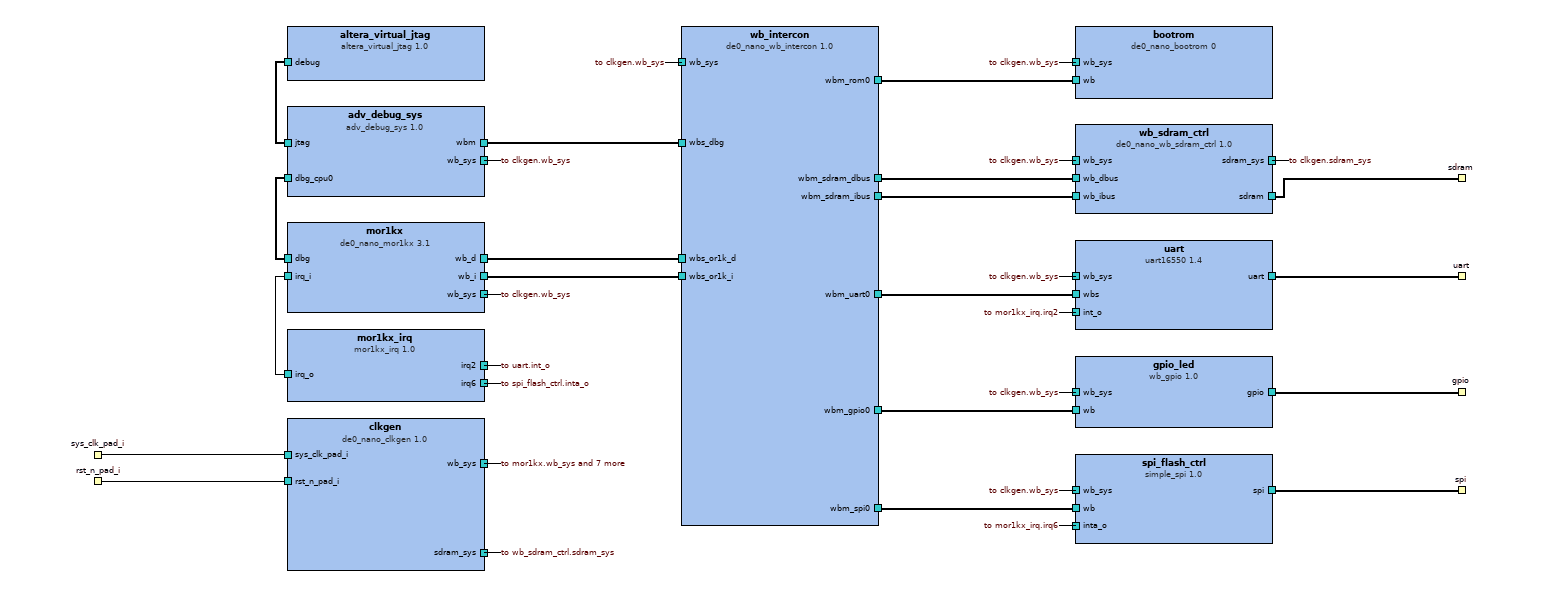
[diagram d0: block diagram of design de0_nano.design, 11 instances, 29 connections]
<?xml version="1.0" encoding="UTF-8"?>
<spirit:design xmlns:kactus2="http://funbase.cs.tut.fi/" xmlns:spirit="http://www.spiritconsortium.org/XMLSchema/SPIRIT/1.5" xmlns:xsi="http://www.w3.org/2001/XMLSchema-instance" xsi:schemaLocation="http://www.spiritconsortium.org/XMLSchema/SPIRIT/1.5 http://www.spiritconsortium.org/XMLSchema/SPIRIT/1.5/index.xsd"><spirit:vendor>librecores.org</spirit:vendor><spirit:library>soc</spirit:library><spirit:name>de0_nano.design</spirit:name>
 <spirit:version>1.0</spirit:version><spirit:componentInstances>
 <spirit:componentInstance><spirit:instanceName>bootrom</spirit:instanceName><spirit:componentRef spirit:vendor="librecores.org" spirit:library="ip" spirit:name="de0_nano_bootrom" spirit:version="0"/></spirit:componentInstance>
 <spirit:componentInstance><spirit:instanceName>wb_sdram_ctrl</spirit:instanceName><spirit:componentRef spirit:vendor="librecores.org" spirit:library="ip" spirit:name="de0_nano_wb_sdram_ctrl" spirit:version="1.0"/></spirit:componentInstance>
 <spirit:componentInstance><spirit:instanceName>uart</spirit:instanceName><spirit:componentRef spirit:vendor="librecores.org" spirit:library="ip" spirit:name="uart16550" spirit:version="1.4"/></spirit:componentInstance>
 <spirit:componentInstance><spirit:instanceName>spi_flash_ctrl</spirit:instanceName><spirit:componentRef spirit:vendor="librecores.org" spirit:library="ip" spirit:name="simple_spi" spirit:version="1.0"/></spirit:componentInstance>
 <spirit:componentInstance><spirit:instanceName>gpio_led</spirit:instanceName><spirit:componentRef spirit:vendor="librecores.org" spirit:library="ip" spirit:name="wb_gpio" spirit:version="1.0"/></spirit:componentInstance>
 <spirit:componentInstance><spirit:instanceName>wb_intercon</spirit:instanceName><spirit:componentRef spirit:vendor="librecores.org" spirit:library="ip" spirit:name="de0_nano_wb_intercon" spirit:version="1.0"/></spirit:componentInstance>
 <spirit:componentInstance><spirit:instanceName>mor1kx</spirit:instanceName><spirit:componentRef spirit:vendor="librecores.org" spirit:library="ip" spirit:name="de0_nano_mor1kx" spirit:version="3.1"/></spirit:componentInstance>
 <spirit:componentInstance><spirit:instanceName>mor1kx_irq</spirit:instanceName><spirit:componentRef spirit:vendor="librecores.org" spirit:library="ip" spirit:name="mor1kx_irq" spirit:version="1.0"/></spirit:componentInstance>
 <spirit:componentInstance><spirit:instanceName>adv_debug_sys</spirit:instanceName><spirit:displayName>Debug Unit</spirit:displayName><spirit:componentRef spirit:vendor="librecores.org" spirit:library="ip" spirit:name="adv_debug_sys" spirit:version="1.0"/></spirit:componentInstance>
 <spirit:componentInstance><spirit:instanceName>altera_virtual_jtag</spirit:instanceName><spirit:componentRef spirit:vendor="librecores.org" spirit:library="ip" spirit:name="altera_virtual_jtag" spirit:version="1.0"/></spirit:componentInstance>
 <spirit:componentInstance><spirit:instanceName>clkgen</spirit:instanceName><spirit:componentRef spirit:vendor="librecores.org" spirit:library="ip" spirit:name="de0_nano_clkgen" spirit:version="1.0"/></spirit:componentInstance>
</spirit:componentInstances><spirit:interconnections>
 <spirit:interconnection><spirit:name>jtag_dbg</spirit:name><spirit:activeInterface spirit:componentRef="altera_virtual_jtag" spirit:busRef="debug"/><spirit:activeInterface spirit:componentRef="adv_debug_sys" spirit:busRef="jtag"/></spirit:interconnection>
 <spirit:interconnection><spirit:name>sdram_sys</spirit:name><spirit:activeInterface spirit:componentRef="clkgen" spirit:busRef="sdram_sys"/><spirit:activeInterface spirit:componentRef="wb_sdram_ctrl" spirit:busRef="sdram_sys"/></spirit:interconnection>
 <spirit:interconnection><spirit:name>wb_spi_flash</spirit:name><spirit:activeInterface spirit:componentRef="wb_intercon" spirit:busRef="wbm_spi0"/><spirit:activeInterface spirit:componentRef="spi_flash_ctrl" spirit:busRef="wb"/></spirit:interconnection>
 <spirit:interconnection><spirit:name>wb_cpu_i</spirit:name><spirit:activeInterface spirit:componentRef="mor1kx" spirit:busRef="wb_i"/><spirit:activeInterface spirit:componentRef="wb_intercon" spirit:busRef="wbs_or1k_i"/></spirit:interconnection>
 <spirit:interconnection><spirit:name>wb_cpu_d</spirit:name><spirit:activeInterface spirit:componentRef="mor1kx" spirit:busRef="wb_d"/><spirit:activeInterface spirit:componentRef="wb_intercon" spirit:busRef="wbs_or1k_d"/></spirit:interconnection>
 <spirit:interconnection><spirit:name>wb_gpio_led</spirit:name><spirit:activeInterface spirit:componentRef="wb_intercon" spirit:busRef="wbm_gpio0"/><spirit:activeInterface spirit:componentRef="gpio_led" spirit:busRef="wb"/></spirit:interconnection>
 <spirit:interconnection><spirit:name>wb_uart</spirit:name><spirit:activeInterface spirit:componentRef="wb_intercon" spirit:busRef="wbm_uart0"/><spirit:activeInterface spirit:componentRef="uart" spirit:busRef="wbs"/></spirit:interconnection>
 <spirit:interconnection><spirit:name>dbg_cpu0</spirit:name><spirit:activeInterface spirit:componentRef="adv_debug_sys" spirit:busRef="dbg_cpu0"/><spirit:activeInterface spirit:componentRef="mor1kx" spirit:busRef="dbg"/></spirit:interconnection>
 <spirit:interconnection><spirit:name>wb_dbg</spirit:name><spirit:activeInterface spirit:componentRef="adv_debug_sys" spirit:busRef="wbm"/><spirit:activeInterface spirit:componentRef="wb_intercon" spirit:busRef="wbs_dbg"/></spirit:interconnection>
 <spirit:interconnection><spirit:name>wb_sdram_d</spirit:name><spirit:activeInterface spirit:componentRef="wb_intercon" spirit:busRef="wbm_sdram_dbus"/><spirit:activeInterface spirit:componentRef="wb_sdram_ctrl" spirit:busRef="wb_dbus"/></spirit:interconnection>
 <spirit:interconnection><spirit:name>wb_sdram_i</spirit:name><spirit:activeInterface spirit:componentRef="wb_intercon" spirit:busRef="wbm_sdram_ibus"/><spirit:activeInterface spirit:componentRef="wb_sdram_ctrl" spirit:busRef="wb_ibus"/></spirit:interconnection>
 <spirit:interconnection><spirit:name>clkgen_wb_sys_to_de0_nano_mor1kx_0_wb_sys</spirit:name><spirit:activeInterface spirit:componentRef="clkgen" spirit:busRef="wb_sys"/><spirit:activeInterface spirit:componentRef="mor1kx" spirit:busRef="wb_sys"/></spirit:interconnection>
 <spirit:interconnection><spirit:name>clkgen_wb_sys_to_adv_debug_sys_wb_sys</spirit:name><spirit:activeInterface spirit:componentRef="clkgen" spirit:busRef="wb_sys"/><spirit:activeInterface spirit:componentRef="adv_debug_sys" spirit:busRef="wb_sys"/></spirit:interconnection>
 <spirit:interconnection><spirit:name>clkgen_wb_sys_to_wb_intercon_wb_sys</spirit:name><spirit:activeInterface spirit:componentRef="clkgen" spirit:busRef="wb_sys"/><spirit:activeInterface spirit:componentRef="wb_intercon" spirit:busRef="wb_sys"/></spirit:interconnection>
 <spirit:interconnection><spirit:name>clkgen_wb_sys_to_wb_sdram_ctrl_wb_sys</spirit:name><spirit:activeInterface spirit:componentRef="clkgen" spirit:busRef="wb_sys"/><spirit:activeInterface spirit:componentRef="wb_sdram_ctrl" spirit:busRef="wb_sys"/></spirit:interconnection>
 <spirit:interconnection><spirit:name>clkgen_wb_sys_to_uart_wb_sys</spirit:name><spirit:activeInterface spirit:componentRef="clkgen" spirit:busRef="wb_sys"/><spirit:activeInterface spirit:componentRef="uart" spirit:busRef="wb_sys"/></spirit:interconnection>
 <spirit:interconnection><spirit:name>clkgen_wb_sys_to_gpio_led_wb_sys</spirit:name><spirit:activeInterface spirit:componentRef="clkgen" spirit:busRef="wb_sys"/><spirit:activeInterface spirit:componentRef="gpio_led" spirit:busRef="wb_sys"/></spirit:interconnection>
 <spirit:interconnection><spirit:name>clkgen_wb_sys_to_spi_flash_ctrl_wb_sys</spirit:name><spirit:activeInterface spirit:componentRef="clkgen" spirit:busRef="wb_sys"/><spirit:activeInterface spirit:componentRef="spi_flash_ctrl" spirit:busRef="wb_sys"/></spirit:interconnection>
 <spirit:interconnection><spirit:name>clkgen_wb_sys_to_de0_nano_bootrom_0_wb_sys</spirit:name><spirit:activeInterface spirit:componentRef="clkgen" spirit:busRef="wb_sys"/><spirit:activeInterface spirit:componentRef="bootrom" spirit:busRef="wb_sys"/></spirit:interconnection>
 <spirit:interconnection><spirit:name>wb_bootrom</spirit:name><spirit:activeInterface spirit:componentRef="wb_intercon" spirit:busRef="wbm_rom0"/><spirit:activeInterface spirit:componentRef="bootrom" spirit:busRef="wb"/></spirit:interconnection>
</spirit:interconnections><spirit:adHocConnections>
 <spirit:adHocConnection><spirit:name>mor1kx_irqs</spirit:name><spirit:internalPortReference spirit:componentRef="mor1kx" spirit:portRef="irq_i" spirit:left="31" spirit:right="0"/><spirit:internalPortReference spirit:componentRef="mor1kx_irq" spirit:portRef="irq_o" spirit:left="31" spirit:right="0"/></spirit:adHocConnection>
 <spirit:adHocConnection><spirit:name>clkgen_sys_clk_pad_i_to_sys_clk_pad_i</spirit:name><spirit:internalPortReference spirit:componentRef="clkgen" spirit:portRef="sys_clk_pad_i" spirit:left="0" spirit:right="0"/><spirit:externalPortReference spirit:portRef="sys_clk_pad_i" spirit:left="0" spirit:right="0"/></spirit:adHocConnection>
 <spirit:adHocConnection><spirit:name>clkgen_rst_n_pad_i_to_rst_n_pad_i</spirit:name><spirit:internalPortReference spirit:componentRef="clkgen" spirit:portRef="rst_n_pad_i" spirit:left="0" spirit:right="0"/><spirit:externalPortReference spirit:portRef="rst_n_pad_i" spirit:left="0" spirit:right="0"/></spirit:adHocConnection>
 <spirit:adHocConnection><spirit:name>irq6</spirit:name><spirit:internalPortReference spirit:componentRef="mor1kx_irq" spirit:portRef="irq6" spirit:left="0" spirit:right="0"/><spirit:internalPortReference spirit:componentRef="spi_flash_ctrl" spirit:portRef="inta_o" spirit:left="0" spirit:right="0"/></spirit:adHocConnection>
 <spirit:adHocConnection><spirit:name>irq2</spirit:name><spirit:internalPortReference spirit:componentRef="uart" spirit:portRef="int_o" spirit:left="0" spirit:right="0"/><spirit:internalPortReference spirit:componentRef="mor1kx_irq" spirit:portRef="irq2" spirit:left="0" spirit:right="0"/></spirit:adHocConnection>
</spirit:adHocConnections><spirit:hierConnections>
 <spirit:hierConnection spirit:interfaceRef="spi"><spirit:interface spirit:componentRef="spi_flash_ctrl" spirit:busRef="spi"/></spirit:hierConnection>
 <spirit:hierConnection spirit:interfaceRef="uart"><spirit:interface spirit:componentRef="uart" spirit:busRef="uart"/></spirit:hierConnection>
 <spirit:hierConnection spirit:interfaceRef="sdram"><spirit:interface spirit:componentRef="wb_sdram_ctrl" spirit:busRef="sdram"/></spirit:hierConnection>
 <spirit:hierConnection spirit:interfaceRef="gpio"><spirit:interface spirit:componentRef="gpio_led" spirit:busRef="gpio"/></spirit:hierConnection>
</spirit:hierConnections></spirit:design>

